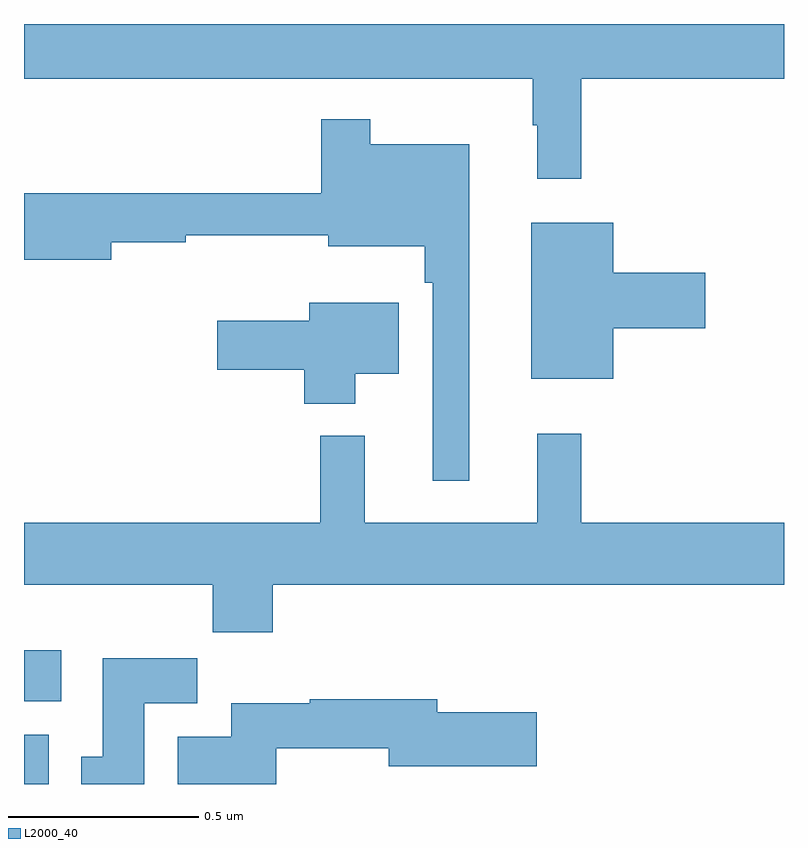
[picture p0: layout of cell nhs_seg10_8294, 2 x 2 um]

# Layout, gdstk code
import gdstk
lib = gdstk.Library(unit=1e-6, precision=1e-09)
def R(c, l, rs):  # rectangles x0, y0, x1, y1
    for r in rs: c.add(gdstk.rectangle(r[:2], r[2:], *l))
def P(c, l, *ps):  # polygons
    for p in ps: c.add(gdstk.Polygon(p, *l))
L2000_40 = (2000, 40)

nhs_seg10_8294 = lib.new_cell('nhs_seg10_8294')
R(nhs_seg10_8294, L2000_40, [(215,1258.5,215.065,1258.63), (215,1258.718,215.098,1258.852)])
P(nhs_seg10_8294, L2000_40, [(216.467,1260.356),(217,1260.356),(217,1260.5),(215,1260.5),(215,1260.356),(216.339,1260.356),(216.339,1260.233),(216.35,1260.233),(216.35,1260.093),(216.467,1260.093)],
  [(216.172,1260.184),(215.911,1260.184),(215.911,1260.25),(215.782,1260.25),(215.782,1260.055),(215,1260.055),(215,1259.879),(215.23,1259.879),(215.23,1259.926),(215.426,1259.926),(215.426,1259.944),(215.801,1259.944),(215.801,1259.915),(216.055,1259.915),(216.055,1259.819),(216.075,1259.819),(216.075,1259.298),(216.172,1259.298)],
  [(216.55,1259.699),(216.793,1259.699),(216.793,1259.846),(216.55,1259.846),(216.55,1259.977),(216.335,1259.977),(216.335,1259.567),(216.55,1259.567)],
  [(215.872,1259.579),(215.986,1259.579),(215.986,1259.767),(215.75,1259.767),(215.75,1259.719),(215.508,1259.719),(215.508,1259.59),(215.738,1259.59),(215.738,1259.501),(215.872,1259.501)],
  [(215.654,1259.024),(217,1259.024),(217,1259.188),(216.467,1259.188),(216.467,1259.422),(216.35,1259.422),(216.35,1259.188),(215.897,1259.188),(215.897,1259.416),(215.779,1259.416),(215.779,1259.188),(215,1259.188),(215,1259.024),(215.497,1259.024),(215.497,1258.9),(215.654,1258.9)],
  [(215.317,1258.712),(215.456,1258.712),(215.456,1258.831),(215.207,1258.831),(215.207,1258.572),(215.15,1258.572),(215.15,1258.5),(215.317,1258.5)],
  [(215.664,1258.594),(215.96,1258.594),(215.96,1258.547),(216.349,1258.547),(216.349,1258.689),(216.088,1258.689),(216.088,1258.723),(215.752,1258.723),(215.752,1258.712),(215.546,1258.712),(215.546,1258.624),(215.405,1258.624),(215.405,1258.5),(215.664,1258.5)])

lib.write_gds('nhs_seg10_8294.gds')
